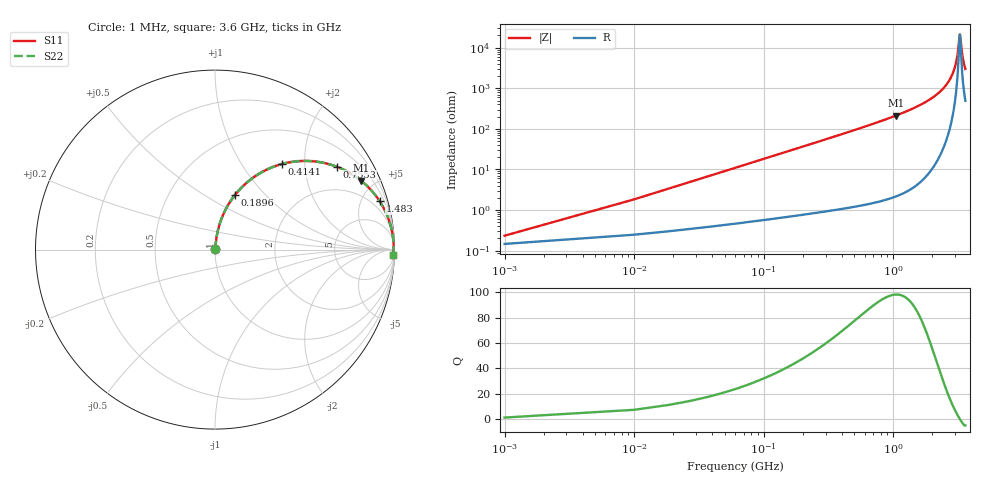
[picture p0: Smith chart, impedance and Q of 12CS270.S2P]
! Coilcraft 1206CS-270 Chip Inductor
! 29 July 2002
# MHZ S MA R 50
!Freq  MagS11  AngS11  MagS21  AngS21  MagS12  AngS12  MagS22  AngS22
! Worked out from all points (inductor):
!   402 points, 1 MHz to 3.6 GHz, reference 50 ohm
!   read as one part in series: L = 29 nH near 18.96 MHz
!   highest Q = 98.3 at 1.043 GHz (marker M1), where L = 32.3 nH
!   self-resonance near 3.261 GHz
!   S11 on the Smith chart (normalised r, x): 1 MHz: 1.00, +0.00; 189.6 MHz: 1.01, +0.69; 414.1 MHz: 1.02, +1.53; 755.3 MHz: 1.03, +2.91; 1.483 GHz: 1.08, +6.81; 3.6 GHz: 11, -59
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1  0.002336 51.1  0.9985 -0.1  0.9985 -0.1  0.002336 51.1
27.94  0.05079 83.2  0.9953 -2.9  0.9953 -2.9  0.05079 83.2
45.9  0.08312 82.4  0.9924 -4.8  0.9924 -4.8  0.08312 82.4
99.78  0.1781 78.0  0.9785 -10.3  0.9785 -10.3  0.1781 78.0
189.58  0.3254 69.8  0.9386 -19.0  0.9386 -19.0  0.3254 69.8
288.36  0.4648 61.3  0.8775 -27.7  0.8775 -27.7  0.4648 61.3
414.08  0.6044 52.0  0.7881 -37.2  0.7881 -37.2  0.6044 52.0
602.66  0.7465 41.0  0.6566 -48.3  0.6566 -48.3  0.7465 41.0
755.32  0.8198 34.3  0.5638 -55.1  0.5638 -55.1  0.8198 34.3
1042.68  0.9006 25.2  0.4256 -64.2  0.4256 -64.2  0.9006 25.2
1204.32  0.9272 21.4  0.365 -68.0  0.365 -68.0  0.9272 21.4
1482.7  0.9565 16.3  0.281 -73.0  0.281 -73.0  0.9565 16.3
1805.98  0.9756 11.9  0.2057 -77.3  0.2057 -77.3  0.9756 11.9
2407.64  0.9914 5.9  0.1031 -82.2  0.1031 -82.2  0.9914 5.9
2757.86  0.9946 3.2  0.05678 -82.9  0.05678 -82.9  0.9946 3.2
3000.32  0.9954 1.6  0.02858 -80.0  0.02858 -80.0  0.9954 1.6
3126.04  0.9955 0.8  0.01517 -72.2  0.01517 -72.2  0.9955 0.8
3260.74  0.9953 0.0  0.004699 -4.8  0.004699 -4.8  0.9953 0.0
3287.68  0.9953 -0.1  0.005292 26.3  0.005292 26.3  0.9953 -0.1
3359.52  0.9951 -0.5  0.01076 62.4  0.01076 62.4  0.9951 -0.5
3422.38  0.9948 -0.9  0.01656 71.4  0.01656 71.4  0.9948 -0.9
3600  0.994 -1.9  0.03316 78.7  0.03316 78.7  0.994 -1.9
